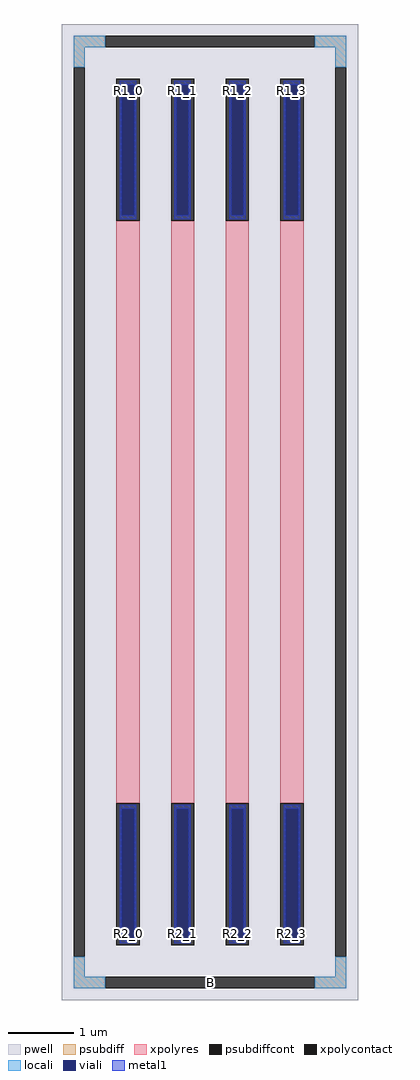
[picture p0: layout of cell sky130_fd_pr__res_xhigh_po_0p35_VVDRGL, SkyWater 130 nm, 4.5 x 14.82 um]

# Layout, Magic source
magic
tech sky130A
magscale 1 2
<< pwell >>
rect -450 -1482 450 1482
<< psubdiff >>
rect -414 1412 -318 1446
rect 318 1412 414 1446
rect -414 1350 -380 1412
rect 380 1350 414 1412
rect -414 -1412 -380 -1350
rect 380 -1412 414 -1350
rect -414 -1446 -318 -1412
rect 318 -1446 414 -1412
<< psubdiffcont >>
rect -318 1412 318 1446
rect -414 -1350 -380 1350
rect 380 -1350 414 1350
rect -318 -1446 318 -1412
<< xpolycontact >>
rect -284 884 -214 1316
rect -284 -1316 -214 -884
rect -118 884 -48 1316
rect -118 -1316 -48 -884
rect 48 884 118 1316
rect 48 -1316 118 -884
rect 214 884 284 1316
rect 214 -1316 284 -884
<< xpolyres >>
rect -284 -884 -214 884
rect -118 -884 -48 884
rect 48 -884 118 884
rect 214 -884 284 884
<< locali >>
rect -414 1412 -318 1446
rect 318 1412 414 1446
rect -414 1350 -380 1412
rect 380 1350 414 1412
rect -414 -1412 -380 -1350
rect 380 -1412 414 -1350
rect -414 -1446 -318 -1412
rect 318 -1446 414 -1412
<< viali >>
rect -268 901 -230 1298
rect -102 901 -64 1298
rect 64 901 102 1298
rect 230 901 268 1298
rect -268 -1298 -230 -901
rect -102 -1298 -64 -901
rect 64 -1298 102 -901
rect 230 -1298 268 -901
<< metal1 >>
rect -274 1298 -224 1310
rect -274 901 -268 1298
rect -230 901 -224 1298
rect -274 889 -224 901
rect -108 1298 -58 1310
rect -108 901 -102 1298
rect -64 901 -58 1298
rect -108 889 -58 901
rect 58 1298 108 1310
rect 58 901 64 1298
rect 102 901 108 1298
rect 58 889 108 901
rect 224 1298 274 1310
rect 224 901 230 1298
rect 268 901 274 1298
rect 224 889 274 901
rect -274 -901 -224 -889
rect -274 -1298 -268 -901
rect -230 -1298 -224 -901
rect -274 -1310 -224 -1298
rect -108 -901 -58 -889
rect -108 -1298 -102 -901
rect -64 -1298 -58 -901
rect -108 -1310 -58 -1298
rect 58 -901 108 -889
rect 58 -1298 64 -901
rect 102 -1298 108 -901
rect 58 -1310 108 -1298
rect 224 -901 274 -889
rect 224 -1298 230 -901
rect 268 -1298 274 -901
rect 224 -1310 274 -1298
<< labels >>
rlabel psubdiffcont 0 -1429 0 -1429 0 B
port 1 nsew
rlabel xpolycontact -249 1281 -249 1281 0 R1_0
port 2 nsew
rlabel xpolycontact -249 -1281 -249 -1281 0 R2_0
port 3 nsew
rlabel xpolycontact -83 1281 -83 1281 0 R1_1
port 4 nsew
rlabel xpolycontact -83 -1281 -83 -1281 0 R2_1
port 5 nsew
rlabel xpolycontact 83 1281 83 1281 0 R1_2
port 6 nsew
rlabel xpolycontact 83 -1281 83 -1281 0 R2_2
port 7 nsew
rlabel xpolycontact 249 1281 249 1281 0 R1_3
port 8 nsew
rlabel xpolycontact 249 -1281 249 -1281 0 R2_3
port 9 nsew
<< properties >>
string FIXED_BBOX -397 -1429 397 1429
string gencell sky130_fd_pr__res_xhigh_po_0p35
string library sky130
string parameters w 0.350 l 9 m 1 nx 4 wmin 0.350 lmin 0.50 class resistor rho 2000 val 52.504k dummy 0 dw 0.0 term 188.2 sterm 0.0 caplen 0 wmax 0.350 guard 1 glc 1 grc 1 gtc 1 gbc 1 compatible {sky130_fd_pr__res_xhigh_po_0p35  sky130_fd_pr__res_xhigh_po_0p69 sky130_fd_pr__res_xhigh_po_1p41  sky130_fd_pr__res_xhigh_po_2p85 sky130_fd_pr__res_xhigh_po_5p73} snake 0 full_metal 1 n_guard 0 hv_guard 0 vias 1 viagb 0 viagt 0 viagl 0 viagr 0 doports 1
<< end >>
